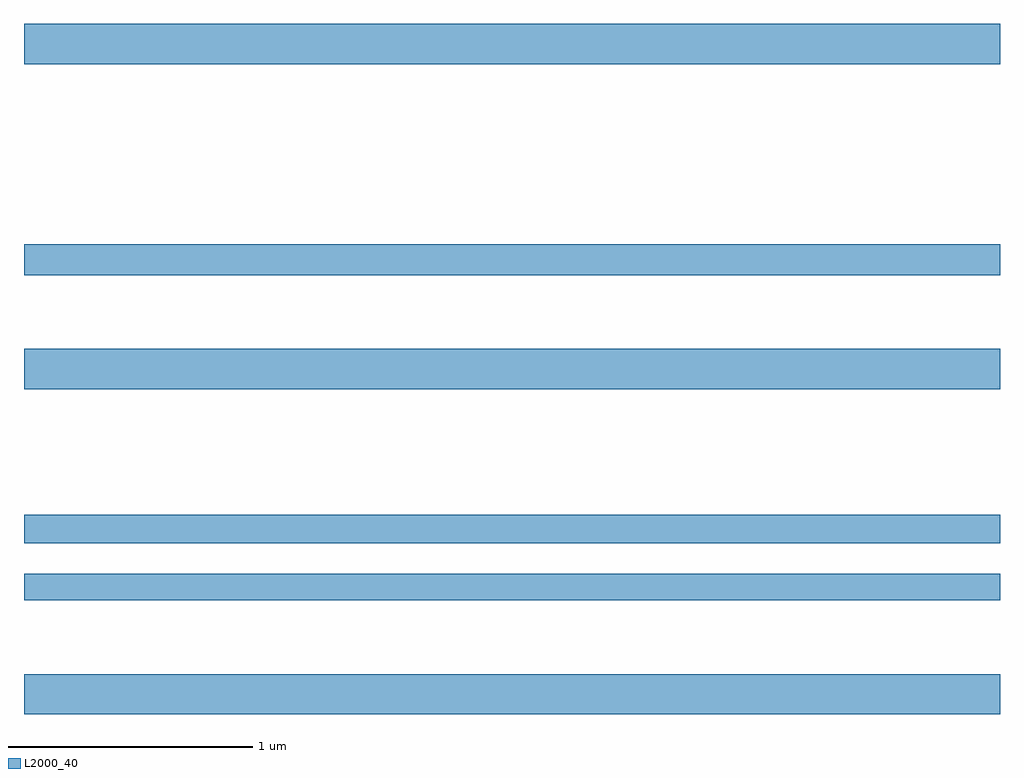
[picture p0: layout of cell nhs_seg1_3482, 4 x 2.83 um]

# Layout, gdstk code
import gdstk
lib = gdstk.Library(unit=1e-6, precision=1e-09)
def R(c, l, rs):  # rectangles x0, y0, x1, y1
    for r in rs: c.add(gdstk.rectangle(r[:2], r[2:], *l))
def A(c, l, x, y, w, h, nx, ny, dx, dy):  # array of equal rectangles
    R(c, l, [(x+i*dx, y+j*dy, x+i*dx+w, y+j*dy+h) for i in range(nx) for j in range(ny)])
L2000_40 = (2000, 40)

nhs_seg1_3482 = lib.new_cell('nhs_seg1_3482')
A(nhs_seg1_3482, L2000_40, 299, 578.372, 4, 0.164, 1, 3, 0, 1.332)
R(nhs_seg1_3482, L2000_40, [(299,578.838,303,578.946), (299,579.072,303,579.188), (299,580.17,303,580.298)])

lib.write_gds('nhs_seg1_3482.gds')
